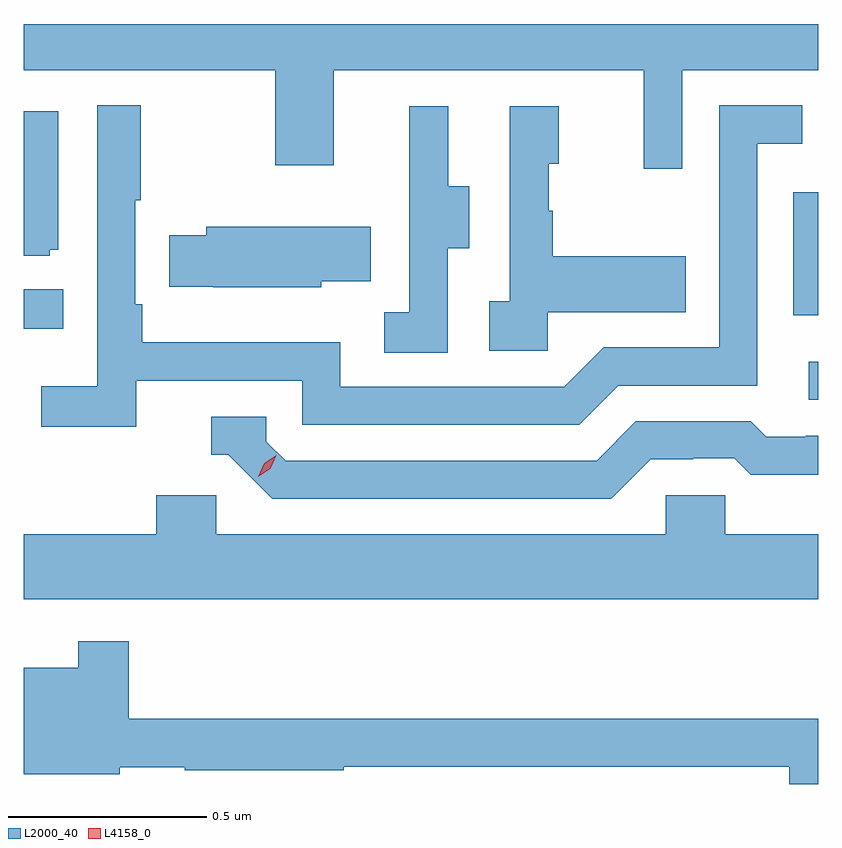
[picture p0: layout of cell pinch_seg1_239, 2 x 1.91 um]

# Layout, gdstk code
import gdstk
lib = gdstk.Library(unit=1e-6, precision=1e-09)
def R(c, l, rs):  # rectangles x0, y0, x1, y1
    for r in rs: c.add(gdstk.rectangle(r[:2], r[2:], *l))
def P(c, l, *ps):  # polygons
    for p in ps: c.add(gdstk.Polygon(p, *l))
L2000_40 = (2000, 40)
L4158_0 = (4158, 0)

pinch_seg1_239 = lib.new_cell('pinch_seg1_239')
R(pinch_seg1_239, L2000_40, [(967.035,568.218,967.059,568.314), (965.059,568.397,965.159,568.496), (966.996,568.431,967.059,568.74)])
P(pinch_seg1_239, L2000_40, [(965.059,569.048),(965.692,569.048),(965.692,568.809),(965.839,568.809),(965.839,569.048),(966.62,569.048),(966.62,568.8),(966.717,568.8),(966.717,569.048),(967.059,569.048),(967.059,569.164),(965.059,569.164)],
  [(965.342,568.266),(965.76,568.266),(965.76,568.155),(966.457,568.155),(966.556,568.254),(966.906,568.254),(966.906,568.863),(967.019,568.863),(967.019,568.959),(966.81,568.959),(966.81,568.35),(966.519,568.35),(966.42,568.251),(965.856,568.251),(965.856,568.363),(965.357,568.363),(965.357,568.459),(965.34,568.459),(965.34,568.72),(965.353,568.72),(965.353,568.96),(965.244,568.96),(965.244,568.252),(965.103,568.252),(965.103,568.15),(965.342,568.15)],
  [(966.126,568.6),(966.181,568.6),(966.181,568.755),(966.127,568.755),(966.127,568.957),(966.029,568.957),(966.029,568.743),(966.03,568.743),(966.03,568.439),(965.967,568.439),(965.967,568.336),(966.126,568.336)],
  [(966.378,568.439),(966.725,568.439),(966.725,568.579),(966.391,568.579),(966.391,568.694),(966.381,568.694),(966.381,568.812),(966.406,568.812),(966.406,568.957),(966.282,568.957),(966.282,568.466),(966.231,568.466),(966.231,568.341),(966.378,568.341)],
  [(965.124,568.596),(965.146,568.596),(965.146,568.945),(965.059,568.945),(965.059,568.581),(965.124,568.581)],
  [(965.808,568.517),(965.933,568.517),(965.933,568.654),(965.519,568.654),(965.519,568.632),(965.425,568.632),(965.425,568.503),(965.536,568.503),(965.536,568.502),(965.808,568.502)],
  [(966.637,568.068),(966.744,568.068),(966.744,568.071),(966.847,568.071),(966.889,568.029),(967.059,568.029),(967.059,568.128),(967.027,568.128),(967.027,568.125),(966.928,568.125),(966.889,568.164),(966.6,568.164),(966.501,568.065),(965.718,568.065),(965.67,568.113),(965.67,568.176),(965.531,568.176),(965.531,568.08),(965.574,568.08),(965.685,567.969),(966.538,567.969)],
  [(967.059,567.88),(966.825,567.88),(966.825,567.978),(966.675,567.978),(966.675,567.88),(965.544,567.88),(965.544,567.978),(965.393,567.978),(965.393,567.88),(965.059,567.88),(965.059,567.716),(967.059,567.716)],
  [(967.059,567.415),(965.324,567.415),(965.324,567.61),(965.196,567.61),(965.196,567.544),(965.059,567.544),(965.059,567.275),(965.301,567.275),(965.301,567.293),(965.464,567.293),(965.464,567.286),(965.864,567.286),(965.864,567.294),(966.986,567.294),(966.986,567.251),(967.059,567.251)])
P(pinch_seg1_239, L4158_0, [(965.649,568.025),(965.649,568.025),(965.665,568.058),(965.695,568.078),(965.695,568.078),(965.695,568.078),(965.68,568.045),(965.649,568.025)])

lib.write_gds('pinch_seg1_239.gds')
